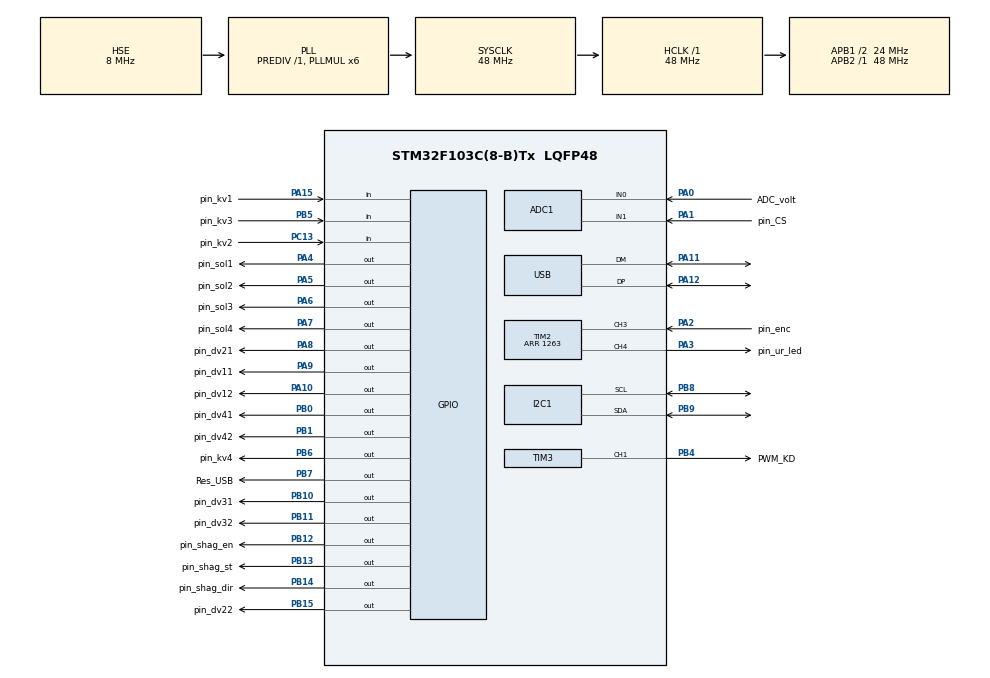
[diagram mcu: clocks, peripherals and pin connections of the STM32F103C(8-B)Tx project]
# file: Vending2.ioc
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ADC1.Channel-3\#ChannelInjectedConversion=ADC_CHANNEL_0
ADC1.Channel-4\#ChannelInjectedConversion=ADC_CHANNEL_1
ADC1.ContinuousConvMode=ENABLE
ADC1.EnableInjectedConversion=ENABLE
ADC1.EnableRegularConversion=DISABLE
ADC1.InjNumberOfConversion=2
ADC1.InjectedOffset-3\#ChannelInjectedConversion=0
ADC1.InjectedOffset-4\#ChannelInjectedConversion=0
ADC1.InjectedRank-3\#ChannelInjectedConversion=1
ADC1.InjectedRank-4\#ChannelInjectedConversion=2
ADC1.SamplingTime-3\#ChannelInjectedConversion=ADC_SAMPLETIME_239CYCLES_5
ADC1.SamplingTime-4\#ChannelInjectedConversion=ADC_SAMPLETIME_239CYCLES_5
ADC1.master=1
Dma.Request0=TIM4_UP
Dma.TIM4_UP.0.Direction=DMA_PERIPH_TO_MEMORY
Dma.TIM4_UP.0.Instance=DMA1_Channel7
Dma.TIM4_UP.0.MemDataAlignment=DMA_MDATAALIGN_HALFWORD
Dma.TIM4_UP.0.MemInc=DMA_MINC_ENABLE
Dma.TIM4_UP.0.Mode=DMA_CIRCULAR
Dma.TIM4_UP.0.PeriphDataAlignment=DMA_PDATAALIGN_HALFWORD
Dma.TIM4_UP.0.PeriphInc=DMA_PINC_DISABLE
Dma.TIM4_UP.0.Priority=DMA_PRIORITY_LOW
Mcu.Family=STM32F1
Mcu.Name=STM32F103C(8-B)Tx
Mcu.Package=LQFP48
NVIC.ADC1_2_IRQn=true\:0\:0\:false\:false\:true\:true\:true
NVIC.DMA1_Channel7_IRQn=true\:0\:0\:false\:false\:true\:false\:true
NVIC.I2C1_ER_IRQn=true\:0\:0\:false\:false\:true\:true\:true
NVIC.I2C1_EV_IRQn=true\:0\:0\:false\:false\:true\:true\:true
NVIC.PriorityGroup=NVIC_PRIORITYGROUP_4
NVIC.TIM2_IRQn=true\:0\:0\:false\:false\:true\:true\:true
NVIC.TIM3_IRQn=true\:0\:0\:false\:false\:true\:true\:true
NVIC.TIM4_IRQn=true\:0\:0\:false\:false\:true\:true\:true
NVIC.USBWakeUp_IRQn=true\:0\:0\:false\:false\:true\:false\:true
NVIC.USB_HP_CAN1_TX_IRQn=true\:0\:0\:false\:false\:true\:true\:true
NVIC.USB_LP_CAN1_RX0_IRQn=true\:0\:0\:false\:false\:true\:true\:true
PA0-WKUP.GPIO_Label=ADC_volt
PA0-WKUP.Signal=ADCx_IN0
PA1.GPIO_Label=pin_CS
PA1.Signal=ADCx_IN1
PA10.GPIO_Label=pin_dv12
PA10.Signal=GPIO_Output
PA11.Mode=Device
PA11.Signal=USB_DM
PA12.Mode=Device
PA12.Signal=USB_DP
PA13.Signal=SYS_JTMS-SWDIO
PA14.Signal=SYS_JTCK-SWCLK
PA15.GPIO_Label=pin_kv1
PA15.GPIO_PuPd=GPIO_PULLUP
PA15.Signal=GPIO_Input
PA2.GPIO_Label=pin_enc
PA2.Signal=S_TIM2_CH3
PA3.GPIO_Label=pin_ur_led
PA3.Signal=S_TIM2_CH4
PA4.GPIO_Label=pin_sol1
PA4.Signal=GPIO_Output
PA5.GPIO_Label=pin_sol2
PA5.Signal=GPIO_Output
PA6.GPIO_Label=pin_sol3
PA6.Signal=GPIO_Output
PA7.GPIO_Label=pin_sol4
PA7.Signal=GPIO_Output
PA8.GPIO_Label=pin_dv21
PA8.Signal=GPIO_Output
PA9.GPIO_Label=pin_dv11
PA9.Signal=GPIO_Output
PB0.GPIO_Label=pin_dv41
PB0.Signal=GPIO_Output
PB1.GPIO_Label=pin_dv42
PB1.Signal=GPIO_Output
PB10.GPIO_Label=pin_dv31
PB10.Signal=GPIO_Output
PB11.GPIO_Label=pin_dv32
PB11.Signal=GPIO_Output
PB12.GPIO_Label=pin_shag_en
PB12.Signal=GPIO_Output
PB13.GPIO_Label=pin_shag_st
PB13.Signal=GPIO_Output
PB14.GPIO_Label=pin_shag_dir
PB14.Signal=GPIO_Output
PB15.GPIO_Label=pin_dv22
PB15.Signal=GPIO_Output
PB3.Signal=SYS_JTDO-TRACESWO
PB4.GPIO_Label=PWM_KD
PB4.Signal=S_TIM3_CH1
PB5.GPIO_Label=pin_kv3
PB5.Signal=GPIO_Input
PB6.GPIO_Label=pin_kv4
PB6.Signal=GPIO_Output
PB7.GPIO_Label=Res_USB
PB7.Signal=GPIO_Output
PB8.Mode=I2C
PB8.Signal=I2C1_SCL
PB9.Mode=I2C
PB9.Signal=I2C1_SDA
PC13-TAMPER-RTC.GPIO_Label=pin_kv2
PC13-TAMPER-RTC.Signal=GPIO_Input
PD0-OSC_IN.Mode=HSE-External-Oscillator
PD0-OSC_IN.Signal=RCC_OSC_IN
PD1-OSC_OUT.Mode=HSE-External-Oscillator
PD1-OSC_OUT.Signal=RCC_OSC_OUT
ProjectManager.HeapSize=0x200
ProjectManager.StackSize=0x400
ProjectManager.TargetToolchain=STM32CubeIDE
RCC.ADCPresc=RCC_ADCPCLK2_DIV4
RCC.AHBFreq_Value=48000000
RCC.APB1CLKDivider=RCC_HCLK_DIV2
RCC.APB1Freq_Value=24000000
RCC.APB1TimFreq_Value=48000000
RCC.APB2Freq_Value=48000000
RCC.APB2TimFreq_Value=48000000
RCC.HCLKFreq_Value=48000000
RCC.PLLMUL=RCC_PLL_MUL6
RCC.PLLSourceVirtual=RCC_PLLSOURCE_HSE
RCC.SYSCLKFreq_VALUE=48000000
RCC.SYSCLKSource=RCC_SYSCLKSOURCE_PLLCLK
RCC.USBFreq_Value=48000000
SH.ADCx_IN0.0=ADC1_IN0,IN0
SH.ADCx_IN1.0=ADC1_IN1,IN1
SH.S_TIM2_CH3.0=TIM2_CH3,Input_Capture3_from_TI3
SH.S_TIM2_CH4.0=TIM2_CH4,PWM Generation4 CH4
SH.S_TIM3_CH1.0=TIM3_CH1,PWM Generation1 CH1
TIM2.Channel-Input_Capture3_from_TI3=TIM_CHANNEL_3
TIM2.Channel-PWM\ Generation4\ CH4=TIM_CHANNEL_4
TIM2.Period=1263
TIM2.Pulse-PWM\ Generation4\ CH4=600
TIM3.Channel-PWM\ Generation1\ CH1=TIM_CHANNEL_1
TIM3.Period=1600
TIM3.Prescaler=480
TIM4.Period=100
TIM4.Prescaler=4800
USB.low_power_enable=ENABLE
USB_DEVICE.APP_RX_DATA_SIZE=64
USB_DEVICE.APP_TX_DATA_SIZE=64
USB_DEVICE.CLASS_NAME_FS=CDC
USB_DEVICE.VirtualMode=Cdc
USB_DEVICE.VirtualModeFS=Cdc_FS
VP_SYS_VS_ND.Mode=No_Debug
VP_TIM2_VS_ClockSourceINT.Mode=Internal
VP_TIM3_VS_ClockSourceINT.Mode=Internal
VP_TIM4_VS_ClockSourceINT.Mode=Internal
VP_USB_DEVICE_VS_USB_DEVICE_CDC_FS.Mode=CDC_FS
board=custom

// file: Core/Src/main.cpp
/* USER CODE BEGIN Header */
/**
 * Версия 1
 *
  ******************************************************************************
  * @file           : main.c
  * @brief          : Main program body
  ******************************************************************************
  *Программа платы управления механики вендингового аппарата.
  *Осуществляется управление двигателями, соленойдами и контроль оптопар.
  *Переменные параметры программы поступают по USB и записываются в буфер.
  *Перед началом выполнения алгоритма проверяется флаг аварии и буфер приема.
  *При завершении программы в аварийном режиме в EEPROM записывается флаг и номер шага алгоритма.
  *После аварийного останова программа должна продолжить выполнение с прерванного шага (метка mx:).
  *
  *
  *syscalls.c
  *#include "main.h"
  *__attribute__((weak)) int _write(int file, char *ptr, int len)
{
	int DataIdx;

	for (DataIdx = 0; DataIdx < len; DataIdx++)
	{
		//__io_putchar(*ptr++); 	//чтобы работал puts  закоментировать __io_putchar(*ptr++);
		ITM_SendChar(*ptr++);		//добавить ITM_SendChar(*ptr++); и #include "main.h"
	}
	return len;
}
  ******************************************************************************
  */
/* USER CODE END Header */
#include "main.h"
#include "usb_device.h"

/* USER CODE BEGIN Includes */
#include <string>
//#include <stdio.h>
#include <cstring>
#include "def.h"
#include "usbd_cdc_if.h"
#include "def_func.h"
#include "def_pin.h"

using namespace std;
//#include "i2c_er.h"

/* USER CODE END Includes */

/* USER CODE BEGIN PD */
#define VREF 3.3065 //установка опорного напряжения
/* USER CODE END PD */

/* USER CODE BEGIN PM */
extern void executeCommand(string data_rx);
extern string usb_buf_rx;
extern void Msg(string);
extern uint8_t flag_error;
/* USER CODE END PM */

ADC_HandleTypeDef hadc1;

I2C_HandleTypeDef hi2c1;

TIM_HandleTypeDef htim2;
TIM_HandleTypeDef htim3;
TIM_HandleTypeDef htim4;
DMA_HandleTypeDef hdma_tim4_up;

void SystemClock_Config(void);
static void MX_GPIO_Init(void);
static void MX_DMA_Init(void);
static void MX_TIM2_Init(void);
static void MX_I2C1_Init(void);
static void MX_ADC1_Init(void);
static void MX_TIM4_Init(void);
static void MX_TIM3_Init(void);

/* USER CODE BEGIN 0 */
//объявление функций

extern void initialize_monitor_handles(void);

void HAL_ADCEx_InjectedConvCpltCallback(ADC_HandleTypeDef* hadc)
{
    if(hadc->Instance == ADC1) //check if the interrupt comes from ACD1
    {
    			cod_ADC_PW = HAL_ADCEx_InjectedGetValue(&hadc1, ADC_INJECTED_RANK_1);
    			cod_ADC_CS = HAL_ADCEx_InjectedGetValue(&hadc1, ADC_INJECTED_RANK_2);
    }
    if(cod_ADC_CS >= 2048) cod_ADC_CS = cod_ADC_CS - 2048;
    else cod_ADC_CS = 2048 - cod_ADC_CS;
    HAL_ADCEx_InjectedStart_IT(&hadc1);

    if(cod_ADC_PW <= 3500){
    	//Write_I2C(&hi2c1, adr_EEPROM, 0x10, (unsigned char*)mtk,8);			//записать шаг в EEPROM
    	flag_error = 1;	//выставить флаг ошибки
    }
 }

//колбек захвата входного сигнала по фронту. счет ипульсов энкодера мотор-редуктора.
void HAL_TIM_IC_CaptureCallback(TIM_HandleTypeDef *htim)
{
    if (htim->Instance == TIM2)
    {
    	if(htim->Channel == HAL_TIM_ACTIVE_CHANNEL_3) count_taho++;
    }
}

/* USER CODE END 0 */

int main(void)
{

  /* MCU Configuration--------------------------------------------------------*/

  /* Reset of all peripherals, Initializes the Flash interface and the Systick. */
  HAL_Init();

  /* Configure the system clock */
  SystemClock_Config();

  /* Initialize all configured peripherals */
  MX_GPIO_Init();
  MX_DMA_Init();
  MX_TIM2_Init();
  MX_I2C1_Init();
  MX_ADC1_Init();
  MX_TIM4_Init();
  MX_USB_DEVICE_Init();
  MX_TIM3_Init();
  /* USER CODE BEGIN 2 */
  DWT_Init();
  //HAL_TIMEx_PWMN_Start_IT(&htim1, TIM_CHANNEL_1); //генерация в режиме прерывания
  HAL_TIM_PWM_Start_IT(&htim2, TIM_CHANNEL_4); 		//запуск PWM UR LED-светодиодов с частотой 38 кГц
  HAL_TIM_IC_Start_IT(&htim2, TIM_CHANNEL_3);		//запуск режима захвата канала
  HAL_TIM_PWM_Start(&htim3, TIM_CHANNEL_1);			//запуск Ш�?М ШД
  HAL_TIM_Base_Start_IT(&htim4);					//запуск таймера 4 100мс
    //работа с инжекторными каналами
  HAL_ADCEx_Calibration_Start(&hadc1);
  HAL_ADCEx_InjectedStart_IT(&hadc1); 			// запускаем опрос инжект. каналов по прерыванию
    //прочитать данные с EEPROM. если есть метка, то начать с неё.
  ReadEEPROM();									//загрузить данные из EEPROM

  PortRead(&hi2c1, adr_ur_sens,&input_UR);		//опрос оптодатчиков
  //HAL_Delay(1000);
  Msg("Start program");
  InitDev();
  /* USER CODE END 2 */

  /* Infinite loop */
  /* USER CODE BEGIN WHILE */
  while (1)
  {

	  	  	  if (flag_error == 1) {						//проверить есть ли данные для приема

		  		  if (!fl_run_prg) {				//если программа не выполняется и нет флага ошибки
		  			  fl_run_prg = 1; 				//флаг выполнения программы
		  			  executeCommand(usb_buf_rx);
		  			  fl_run_prg = 0; 				//флаг выполнения программы
		  		  }
		  	  }
	  	  	  else{
	  	  		Msg("Program execution");
	  	  	  }

/*
		  PortRead(&hi2c1, adr_ur_sens,&input_UR);
		  if(bitRead(input_UR, opto_print_in) == 0) Msg("foto on");
		  Pause(500);
*/

HAL_Delay(5);

    /* USER CODE END WHILE */

  }
}

void SystemClock_Config(void)
{
  RCC_OscInitTypeDef RCC_OscInitStruct = {0};
  RCC_ClkInitTypeDef RCC_ClkInitStruct = {0};
  RCC_PeriphCLKInitTypeDef PeriphClkInit = {0};

  /** Initializes the RCC Oscillators according to the specified parameters
  * in the RCC_OscInitTypeDef structure.
  */
  RCC_OscInitStruct.OscillatorType = RCC_OSCILLATORTYPE_HSE;
  RCC_OscInitStruct.HSEState = RCC_HSE_ON;
  RCC_OscInitStruct.HSEPredivValue = RCC_HSE_PREDIV_DIV1;
  RCC_OscInitStruct.HSIState = RCC_HSI_ON;
  RCC_OscInitStruct.PLL.PLLState = RCC_PLL_ON;
  RCC_OscInitStruct.PLL.PLLSource = RCC_PLLSOURCE_HSE;
  RCC_OscInitStruct.PLL.PLLMUL = RCC_PLL_MUL6;
  if (HAL_RCC_OscConfig(&RCC_OscInitStruct) != HAL_OK)
  {
    Error_Handler();
  }
  /** Initializes the CPU, AHB and APB buses clocks
  */
  RCC_ClkInitStruct.ClockType = RCC_CLOCKTYPE_HCLK|RCC_CLOCKTYPE_SYSCLK
                              |RCC_CLOCKTYPE_PCLK1|RCC_CLOCKTYPE_PCLK2;
  RCC_ClkInitStruct.SYSCLKSource = RCC_SYSCLKSOURCE_PLLCLK;
  RCC_ClkInitStruct.AHBCLKDivider = RCC_SYSCLK_DIV1;
  RCC_ClkInitStruct.APB1CLKDivider = RCC_HCLK_DIV2;
  RCC_ClkInitStruct.APB2CLKDivider = RCC_HCLK_DIV1;

  if (HAL_RCC_ClockConfig(&RCC_ClkInitStruct, FLASH_LATENCY_1) != HAL_OK)
  {
    Error_Handler();
  }
  PeriphClkInit.PeriphClockSelection = RCC_PERIPHCLK_ADC|RCC_PERIPHCLK_USB;
  PeriphClkInit.AdcClockSelection = RCC_ADCPCLK2_DIV4;
  PeriphClkInit.UsbClockSelection = RCC_USBCLKSOURCE_PLL;
  if (HAL_RCCEx_PeriphCLKConfig(&PeriphClkInit) != HAL_OK)
  {
    Error_Handler();
  }
}

static void MX_ADC1_Init(void)
{

  ADC_InjectionConfTypeDef sConfigInjected = {0};

  /** Common config
  */
  hadc1.Instance = ADC1;
  hadc1.Init.ScanConvMode = ADC_SCAN_ENABLE;
  hadc1.Init.ContinuousConvMode = ENABLE;
  hadc1.Init.DiscontinuousConvMode = DISABLE;
  hadc1.Init.ExternalTrigConv = ADC_SOFTWARE_START;
  hadc1.Init.DataAlign = ADC_DATAALIGN_RIGHT;
  hadc1.Init.NbrOfConversion = 1;
  if (HAL_ADC_Init(&hadc1) != HAL_OK)
  {
    Error_Handler();
  }
  /** Configure Injected Channel
  */
  sConfigInjected.InjectedChannel = ADC_CHANNEL_0;
  sConfigInjected.InjectedRank = ADC_INJECTED_RANK_1;
  sConfigInjected.InjectedNbrOfConversion = 2;
  sConfigInjected.InjectedSamplingTime = ADC_SAMPLETIME_239CYCLES_5;
  sConfigInjected.ExternalTrigInjecConv = ADC_INJECTED_SOFTWARE_START;
  sConfigInjected.AutoInjectedConv = DISABLE;
  sConfigInjected.InjectedDiscontinuousConvMode = DISABLE;
  sConfigInjected.InjectedOffset = 0;
  if (HAL_ADCEx_InjectedConfigChannel(&hadc1, &sConfigInjected) != HAL_OK)
  {
    Error_Handler();
  }
  /** Configure Injected Channel
  */
  sConfigInjected.InjectedChannel = ADC_CHANNEL_1;
  sConfigInjected.InjectedRank = ADC_INJECTED_RANK_2;
  if (HAL_ADCEx_InjectedConfigChannel(&hadc1, &sConfigInjected) != HAL_OK)
  {
    Error_Handler();
  }

}

static void MX_I2C1_Init(void)
{

  hi2c1.Instance = I2C1;
  hi2c1.Init.ClockSpeed = 100000;
  hi2c1.Init.DutyCycle = I2C_DUTYCYCLE_2;
  hi2c1.Init.OwnAddress1 = 0;
  hi2c1.Init.AddressingMode = I2C_ADDRESSINGMODE_7BIT;
  hi2c1.Init.DualAddressMode = I2C_DUALADDRESS_DISABLE;
  hi2c1.Init.OwnAddress2 = 0;
  hi2c1.Init.GeneralCallMode = I2C_GENERALCALL_DISABLE;
  hi2c1.Init.NoStretchMode = I2C_NOSTRETCH_DISABLE;
  if (HAL_I2C_Init(&hi2c1) != HAL_OK)
  {
    Error_Handler();
  }

}

static void MX_TIM2_Init(void)
{

  /* USER CODE BEGIN TIM2_Init 0 */
//частота 38Кгц скважность 50%
  /* USER CODE END TIM2_Init 0 */

  TIM_ClockConfigTypeDef sClockSourceConfig = {0};
  TIM_MasterConfigTypeDef sMasterConfig = {0};
  TIM_IC_InitTypeDef sConfigIC = {0};
  TIM_OC_InitTypeDef sConfigOC = {0};

  htim2.Instance = TIM2;
  htim2.Init.Prescaler = 0;
  htim2.Init.CounterMode = TIM_COUNTERMODE_UP;
  htim2.Init.Period = 1263;
  htim2.Init.ClockDivision = TIM_CLOCKDIVISION_DIV1;
  htim2.Init.AutoReloadPreload = TIM_AUTORELOAD_PRELOAD_DISABLE;
  if (HAL_TIM_Base_Init(&htim2) != HAL_OK)
  {
    Error_Handler();
  }
  sClockSourceConfig.ClockSource = TIM_CLOCKSOURCE_INTERNAL;
  if (HAL_TIM_ConfigClockSource(&htim2, &sClockSourceConfig) != HAL_OK)
  {
    Error_Handler();
  }
  if (HAL_TIM_IC_Init(&htim2) != HAL_OK)
  {
    Error_Handler();
  }
  if (HAL_TIM_PWM_Init(&htim2) != HAL_OK)
  {
    Error_Handler();
  }
  sMasterConfig.MasterOutputTrigger = TIM_TRGO_RESET;
  sMasterConfig.MasterSlaveMode = TIM_MASTERSLAVEMODE_DISABLE;
  if (HAL_TIMEx_MasterConfigSynchronization(&htim2, &sMasterConfig) != HAL_OK)
  {
    Error_Handler();
  }
  sConfigIC.ICPolarity = TIM_INPUTCHANNELPOLARITY_RISING;
  sConfigIC.ICSelection = TIM_ICSELECTION_DIRECTTI;
  sConfigIC.ICPrescaler = TIM_ICPSC_DIV1;
  sConfigIC.ICFilter = 0;
  if (HAL_TIM_IC_ConfigChannel(&htim2, &sConfigIC, TIM_CHANNEL_3) != HAL_OK)
  {
    Error_Handler();
  }
  sConfigOC.OCMode = TIM_OCMODE_PWM1;
  sConfigOC.Pulse = 600;
  sConfigOC.OCPolarity = TIM_OCPOLARITY_HIGH;
  sConfigOC.OCFastMode = TIM_OCFAST_DISABLE;
  if (HAL_TIM_PWM_ConfigChannel(&htim2, &sConfigOC, TIM_CHANNEL_4) != HAL_OK)
  {
    Error_Handler();
  }
  HAL_TIM_MspPostInit(&htim2);

}

static void MX_TIM3_Init(void)
{

  TIM_ClockConfigTypeDef sClockSourceConfig = {0};
  TIM_MasterConfigTypeDef sMasterConfig = {0};
  TIM_OC_InitTypeDef sConfigOC = {0};

  htim3.Instance = TIM3;
  htim3.Init.Prescaler = 480;
  htim3.Init.CounterMode = TIM_COUNTERMODE_UP;
  htim3.Init.Period = 1600;
  htim3.Init.ClockDivision = TIM_CLOCKDIVISION_DIV1;
  htim3.Init.AutoReloadPreload = TIM_AUTORELOAD_PRELOAD_DISABLE;
  if (HAL_TIM_Base_Init(&htim3) != HAL_OK)
  {
    Error_Handler();
  }
  sClockSourceConfig.ClockSource = TIM_CLOCKSOURCE_INTERNAL;
  if (HAL_TIM_ConfigClockSource(&htim3, &sClockSourceConfig) != HAL_OK)
  {
    Error_Handler();
  }
  if (HAL_TIM_PWM_Init(&htim3) != HAL_OK)
  {
    Error_Handler();
  }
  sMasterConfig.MasterOutputTrigger = TIM_TRGO_RESET;
  sMasterConfig.MasterSlaveMode = TIM_MASTERSLAVEMODE_DISABLE;
  if (HAL_TIMEx_MasterConfigSynchronization(&htim3, &sMasterConfig) != HAL_OK)
  {
    Error_Handler();
  }
  sConfigOC.OCMode = TIM_OCMODE_PWM1;
  sConfigOC.Pulse = 0;
  sConfigOC.OCPolarity = TIM_OCPOLARITY_HIGH;
  sConfigOC.OCFastMode = TIM_OCFAST_DISABLE;
  if (HAL_TIM_PWM_ConfigChannel(&htim3, &sConfigOC, TIM_CHANNEL_1) != HAL_OK)
  {
    Error_Handler();
  }
  HAL_TIM_MspPostInit(&htim3);

}

static void MX_TIM4_Init(void)
{

  /* USER CODE BEGIN TIM4_Init 0 */

	//прерывание ускорения 100мс

  /* USER CODE END TIM4_Init 0 */

  TIM_ClockConfigTypeDef sClockSourceConfig = {0};
  TIM_MasterConfigTypeDef sMasterConfig = {0};

  htim4.Instance = TIM4;
  htim4.Init.Prescaler = 4800;
  htim4.Init.CounterMode = TIM_COUNTERMODE_UP;
  htim4.Init.Period = 100;
  htim4.Init.ClockDivision = TIM_CLOCKDIVISION_DIV1;
  htim4.Init.AutoReloadPreload = TIM_AUTORELOAD_PRELOAD_DISABLE;
  if (HAL_TIM_Base_Init(&htim4) != HAL_OK)
  {
    Error_Handler();
  }
  sClockSourceConfig.ClockSource = TIM_CLOCKSOURCE_INTERNAL;
  if (HAL_TIM_ConfigClockSource(&htim4, &sClockSourceConfig) != HAL_OK)
  {
    Error_Handler();
  }
  sMasterConfig.MasterOutputTrigger = TIM_TRGO_RESET;
  sMasterConfig.MasterSlaveMode = TIM_MASTERSLAVEMODE_DISABLE;
  if (HAL_TIMEx_MasterConfigSynchronization(&htim4, &sMasterConfig) != HAL_OK)
  {
    Error_Handler();
  }

}

static void MX_DMA_Init(void)
{

  /* DMA controller clock enable */
  __HAL_RCC_DMA1_CLK_ENABLE();

  /* DMA interrupt init */
  /* DMA1_Channel7_IRQn interrupt configuration */
  HAL_NVIC_SetPriority(DMA1_Channel7_IRQn, 0, 0);
  HAL_NVIC_EnableIRQ(DMA1_Channel7_IRQn);

}

static void MX_GPIO_Init(void)
{
  GPIO_InitTypeDef GPIO_InitStruct = {0};

  /* GPIO Ports Clock Enable */
  __HAL_RCC_GPIOC_CLK_ENABLE();
  __HAL_RCC_GPIOD_CLK_ENABLE();
  __HAL_RCC_GPIOA_CLK_ENABLE();
  __HAL_RCC_GPIOB_CLK_ENABLE();

  /*Configure GPIO pin Output Level */
  HAL_GPIO_WritePin(GPIOA, pin_sol1_Pin|pin_sol2_Pin|pin_sol3_Pin|pin_sol4_Pin
                          |pin_dv21_Pin|pin_dv11_Pin|pin_dv12_Pin, GPIO_PIN_RESET);

  /*Configure GPIO pin Output Level */
  HAL_GPIO_WritePin(GPIOB, pin_dv41_Pin|pin_dv42_Pin|pin_dv31_Pin|pin_dv32_Pin
                          |pin_shag_en_Pin|pin_shag_st_Pin|pin_shag_dir_Pin|pin_dv22_Pin
                          |pin_kv4_Pin|Res_USB_Pin, GPIO_PIN_RESET);

  /*Configure GPIO pin : pin_kv2_Pin */
  GPIO_InitStruct.Pin = pin_kv2_Pin;
  GPIO_InitStruct.Mode = GPIO_MODE_INPUT;
  GPIO_InitStruct.Pull = GPIO_NOPULL;
  HAL_GPIO_Init(pin_kv2_GPIO_Port, &GPIO_InitStruct);

  /*Configure GPIO pins : pin_sol1_Pin pin_sol2_Pin pin_sol3_Pin pin_sol4_Pin
                           pin_dv21_Pin pin_dv11_Pin pin_dv12_Pin */
  GPIO_InitStruct.Pin = pin_sol1_Pin|pin_sol2_Pin|pin_sol3_Pin|pin_sol4_Pin
                          |pin_dv21_Pin|pin_dv11_Pin|pin_dv12_Pin;
  GPIO_InitStruct.Mode = GPIO_MODE_OUTPUT_PP;
  GPIO_InitStruct.Pull = GPIO_NOPULL;
  GPIO_InitStruct.Speed = GPIO_SPEED_FREQ_LOW;
  HAL_GPIO_Init(GPIOA, &GPIO_InitStruct);

  /*Configure GPIO pins : pin_dv41_Pin pin_dv42_Pin pin_dv31_Pin pin_dv32_Pin
                           pin_shag_en_Pin pin_shag_st_Pin pin_shag_dir_Pin pin_dv22_Pin
                           pin_kv4_Pin Res_USB_Pin */
  GPIO_InitStruct.Pin = pin_dv41_Pin|pin_dv42_Pin|pin_dv31_Pin|pin_dv32_Pin
                          |pin_shag_en_Pin|pin_shag_st_Pin|pin_shag_dir_Pin|pin_dv22_Pin
                          |pin_kv4_Pin|Res_USB_Pin;
  GPIO_InitStruct.Mode = GPIO_MODE_OUTPUT_PP;
  GPIO_InitStruct.Pull = GPIO_NOPULL;
  GPIO_InitStruct.Speed = GPIO_SPEED_FREQ_LOW;
  HAL_GPIO_Init(GPIOB, &GPIO_InitStruct);

  /*Configure GPIO pin : pin_kv1_Pin */
  GPIO_InitStruct.Pin = pin_kv1_Pin;
  GPIO_InitStruct.Mode = GPIO_MODE_INPUT;
  GPIO_InitStruct.Pull = GPIO_PULLUP;
  HAL_GPIO_Init(pin_kv1_GPIO_Port, &GPIO_InitStruct);

  /*Configure GPIO pin : pin_kv3_Pin */
  GPIO_InitStruct.Pin = pin_kv3_Pin;
  GPIO_InitStruct.Mode = GPIO_MODE_INPUT;
  GPIO_InitStruct.Pull = GPIO_NOPULL;
  HAL_GPIO_Init(pin_kv3_GPIO_Port, &GPIO_InitStruct);

}

/* USER CODE BEGIN 4 */

int __io_putchar(int ch)
{
ITM_SendChar(ch);
return(ch);
}

/* USER CODE END 4 */

void Error_Handler(void)
{
  __disable_irq();
  while (1)
  {
  }
}
